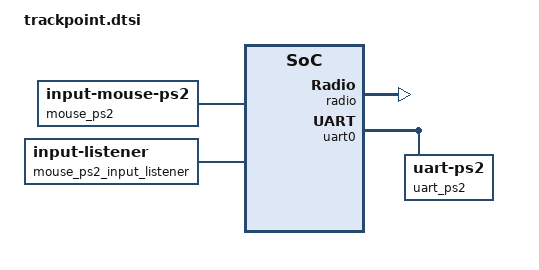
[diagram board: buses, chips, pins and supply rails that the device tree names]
/*
 * PS/2 Mouse / Trackpoint - User Configuration
 *
 * Enable PS/2 drivers on this side of the keyboard.
 * It MUST be the central half. If you connected your TP or mouse to the
 * left side, then move the following content to `your_keyboard_left.overlay`
 *
 * You also need to adjust `Kconfig.defconfig` and configure that this side
 * is the central side.
 *
 */

#define MOUSE_PS2_DRIVER_UART

#define MOUSE_PS2_PIN_SCL_PRO_MICRO <&gpio0 7 GPIO_ACTIVE_HIGH>
#define MOUSE_PS2_PIN_SDA_PRO_MICRO <&gpio0 5 GPIO_ACTIVE_HIGH>
#define MOUSE_PS2_PIN_RST_PRO_MICRO <&gpio1 1 GPIO_ACTIVE_HIGH>
#define MOUSE_PS2_PIN_SDA_PINCTRL <NRF_PSEL(UART_RX, 0, 5)>
#define MOUSE_PS2_UART_BAUD_RATE <14400>

/*
 * PS/2 Mouse / Trackpoint - User Configuration if NOT using nice!nano
 *
 * WARNING: Do NOT change this if you are using a nice!nano v2 or clone.
 */

// Unexposed UART pins
// In UART two different pins are used for receiving and transmitting, but PS/2
// uses the same pin for both.
//
// The UART config still requires both pins to be configured. So we use one of
// the nrf52 pins that are not exposed on the nice!nano board.
//
// Do NOT change these if you are using a nice!nano (or a clone of it)
#define MOUSE_PS2_PIN_UNEXPOSED_TX <NRF_PSEL(UART_TX, 1, 4)>
#define MOUSE_PS2_PIN_UNEXPOSED_RX <NRF_PSEL(UART_RX, 1, 7)>


// Adjust GPIO interrupt priority to the highest level.
//
// IMPORTANT TLDR:
// If you are using the nice_nano_v2 board, you don't need to make changes to
// the config below and can leave it as it is.
//
// Explanation of these settings:
//
// PS/2 events must be processed within 30-50us, but frequently bluetooth and
// other interrupts take longer to finish.
//
// Therefore we change the default GPIO priority to the highest level (0) and
// demote all BT interrupt priorities by one level using the kconfig settings:
// - CONFIG_BT_CTLR_LLL_PRIO 1
// - CONFIG_BT_CTLR_ULL_HIGH_PRIO 2
// - CONFIG_BT_CTLR_ULL_LOW_PRIOCONFIG 2
//
// These config options are enabled automatically by the PS2 UART and GPIO
// drivers... so you don't have to enable them manually.
//
// Then we lower the interrupt priority of all other devices by 2 levels using
// the devicetree config below.
//
// This allows the PS/2 interrupts to be triggered faster and reduces
// transmission errors.
//
// If you are using the nice_nano_v2 board, you can reuse my config below.
//
// Otherwise, you can generate the interrupt overrides using this script:
// https://github.com/infused-kim/kb_zmk_ps2_mouse_trackpoint_driver/blob/main/scripts/gen_interrupt_priority_overrides.py
//
// Make sure to do it on a zephyr.dts where the interrupts have not been
// adjusted yet (i.e. a config that doesn't have the the following options
// enabled).
//
// If you are building using a toolchain you can find the zephyr.dts in the
// build directory, which by default is: `app/build/zephyr/zephyr.dts`
//
// If you are building using the github actions, copy the output of the build
// step `xxxx_right - nice_nano_v2 Devicetree file` into a file and run the
// script on it.

// gpiote should have the highest interrupt priority (0)
&gpiote {
    interrupts = < 6 0 >;
};

// All other priorities should be two levels lower than their defaults
// (which is usually 1 and should be demoted to 3)
&clock {
    interrupts = < 0 3 >;
};

&power {
    interrupts = < 0 3 >;
};

&radio {
    interrupts = < 1 3 >;
};

&uart0 {
    interrupts = < 2 3 >;
};

&i2c0 {
    interrupts = < 3 3 >;
};

&spi0 {
    interrupts = < 3 3 >;
};

&i2c1 {
    interrupts = < 4 3 >;
};

&spi1 {
    interrupts = < 4 3 >;
};

&nfct {
    interrupts = < 5 3 >;
};

&adc {
    interrupts = < 7 3 >;
};

&timer0 {
    interrupts = < 8 3 >;
};

&timer1 {
    interrupts = < 9 3 >;
};

&timer2 {
    interrupts = < 10 3 >;
};

&rtc0 {
    interrupts = < 11 3 >;
};

&temp {
    interrupts = < 12 3 >;
};

&rng {
    interrupts = < 13 3 >;
};

&ecb {
    interrupts = < 14 3 >;
};

&ccm {
    interrupts = < 15 3 >;
};

&wdt {
    interrupts = < 16 3 >;
};

&rtc1 {
    interrupts = < 17 3 >;
};

&qdec {
    interrupts = < 18 3 >;
};

&comp {
    interrupts = < 19 3 >;
};

&egu0 {
    interrupts = < 20 3 >;
};

&egu1 {
    interrupts = < 21 3 >;
};

&egu2 {
    interrupts = < 22 3 >;
};

&egu3 {
    interrupts = < 23 3 >;
};

&egu4 {
    interrupts = < 24 3 >;
};

&egu5 {
    interrupts = < 25 3 >;
};

&timer3 {
    interrupts = < 26 3 >;
};

&timer4 {
    interrupts = < 27 3 >;
};

&pwm0 {
    interrupts = < 28 3 >;
};

&pdm0 {
    interrupts = < 29 3 >;
};

&pwm1 {
    interrupts = < 33 3 >;
};

&pwm2 {
    interrupts = < 34 3 >;
};

&spi2 {
    interrupts = < 35 3 >;
};

&rtc2 {
    interrupts = < 36 3 >;
};

&i2s0 {
    interrupts = < 37 3 >;
};

&usbd {
    interrupts = < 39 3 >;
};

&uart1 {
    interrupts = < 40 3 >;
};

&qspi {
    interrupts = < 41 3 >;
};

&pwm3 {
    interrupts = < 45 3 >;
};

&spi3 {
    interrupts = < 47 3 >;
};

&cryptocell {
    interrupts = < 42 3 >;
};

/ {
    mouse_ps2: mouse_ps2 {
		status = "disabled";
        compatible = "zmk,input-mouse-ps2";

#ifdef MOUSE_PS2_DRIVER_UART
	    ps2-device = <&uart_ps2>;
#else
	    ps2-device = <&gpio_ps2>;
#endif

#ifdef MOUSE_PS2_PIN_RST_PRO_MICRO
        rst-gpios = MOUSE_PS2_PIN_RST_PRO_MICRO;
#endif
    };

    mouse_ps2_input_listener: mouse_ps2_input_listener {
        compatible = "zmk,input-listener";
        status = "disabled";

        device = <&mouse_ps2>;
    };
};
&uart0 {
    status = "disabled";
    compatible = "nordic,nrf-uarte";
    current-speed = MOUSE_PS2_UART_BAUD_RATE;
    pinctrl-0 = <&uart0_ps2_default>;
    pinctrl-1 = <&uart0_ps2_off>;
    pinctrl-names = "default", "sleep";
    uart_ps2: uart_ps2 {
        status="disabled";
        compatible = "uart-ps2";
        scl-gpios = MOUSE_PS2_PIN_SCL_PRO_MICRO;
        sda-gpios = MOUSE_PS2_PIN_SDA_PRO_MICRO;
    };
};

&mouse_ps2_input_listener {
};

&mouse_ps2 {
};

&mouse_ps2 {
    status = "okay";
		disable-clicking;
    //    tp-sensitivity = <70>; 
    //    tp-neg-inertia = <3>; 
    //    tp-val6-upper-speed = <127>; 
     // tp-xy-swap;
		tp-sensitivity = <128>;
		tp-x-invert;
		tp-y-invert;
		sampling-rate = <80>;
};

&mouse_ps2_input_listener {
  status = "okay";
};

&uart0 {
  status = "okay";
};

&uart_ps2 {
  status="okay";
};

#define MOUSE_PS2_DT_PRESENT

&pinctrl {
	// This pinctrl state is used for receiving
	// For `UART_TX`, set an unused and unexposed pin
	// For `UART_RX`, set the PS/2 SDA pin number
	uart0_ps2_default: uart0_ps2_default {
		group1 {
			psels = MOUSE_PS2_PIN_UNEXPOSED_TX,
					MOUSE_PS2_PIN_SDA_PINCTRL;
		};
	};

	// Set this to the same pins as uart0_ps2_default
	uart0_ps2_sleep: uart0_ps2_sleep {
		group1 {
			psels = MOUSE_PS2_PIN_UNEXPOSED_TX,
					MOUSE_PS2_PIN_SDA_PINCTRL;
			low-power-enable;
		};
	};

	// The nrf52 UART controller is not compatible with the PS/2
	// transmission frame. So the PS/2 UART driver doesn't use UART for
	// transmissions and instead use GPIO bit-banging.
	//
	// When the driver switches to transmit mode, it frees up the SDA pin by
    // switching the UART controller to unexposed/unused pins.
	//
	// Then it configures the GPIO controller to use the SCL and SDA pins
	uart0_ps2_off: uart0_ps2_off {
		group1 {
			psels = MOUSE_PS2_PIN_UNEXPOSED_TX,
					MOUSE_PS2_PIN_UNEXPOSED_RX;
		};
	};
};
